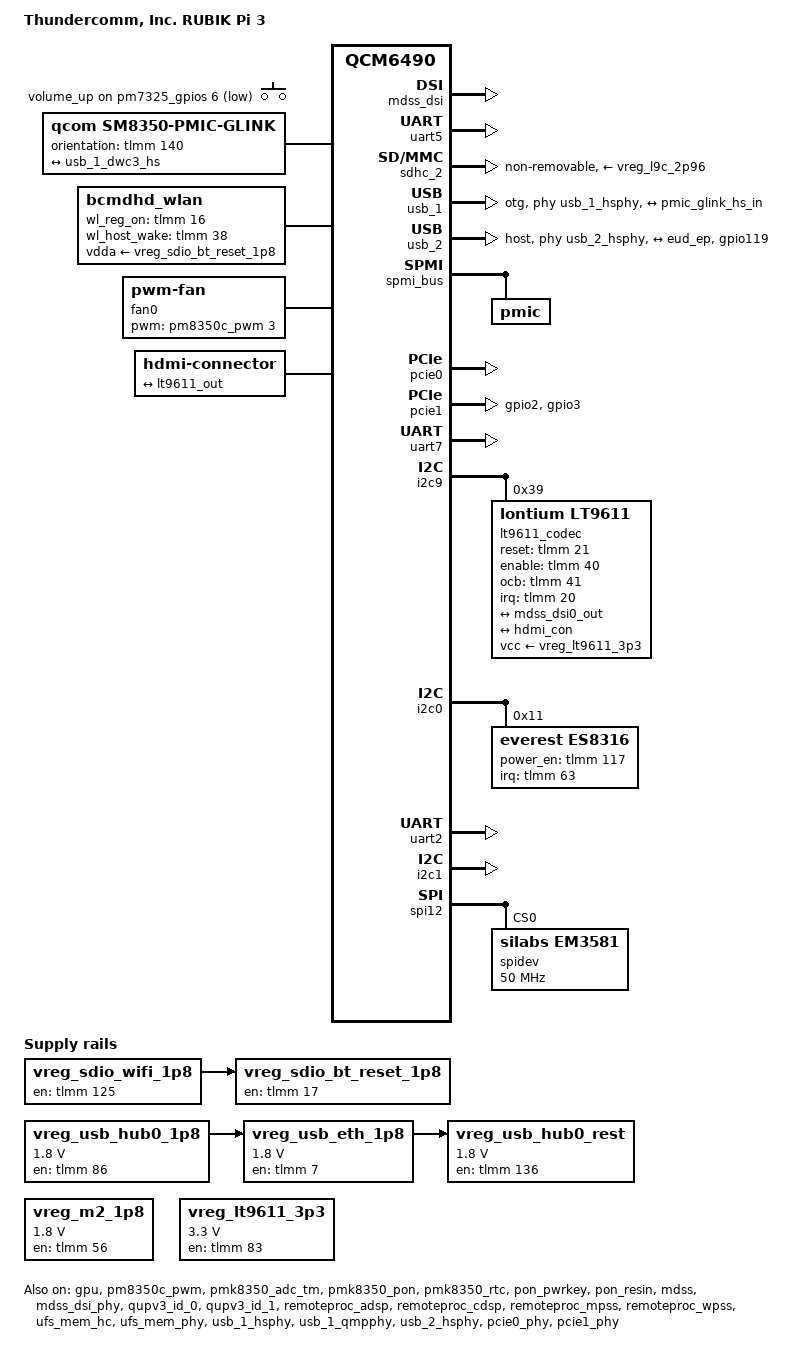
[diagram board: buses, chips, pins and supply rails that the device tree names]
// SPDX-License-Identifier: BSD-3-Clause
/*
 * Copyright (c) 2024, Thundercomm All rights reserved.
 */
#define PM7250B_SID 8
#define PM7250B_SID1 9

#include <dt-bindings/iio/qcom,spmi-adc7-pm7325.h>
#include <dt-bindings/iio/qcom,spmi-adc7-pmk8350.h>
#include <dt-bindings/input/linux-event-codes.h>
#include <dt-bindings/leds/common.h>
#include <dt-bindings/pinctrl/qcom,pmic-gpio.h>
#include <dt-bindings/regulator/qcom,rpmh-regulator.h>
#include "qcm6490.dtsi"
#include "pm7250b.dtsi"
#include "pm7325.dtsi"
#include "pm8350c.dtsi"
#include "pmk8350.dtsi"
#include "pm7325b.dtsi"

/ {
	model = "Thundercomm, Inc. RUBIK Pi 3";
	compatible = "qcom,qcm6490-rb3gen2", "qcom,qcm6490";

	qcom,msm-id = <497 0x10000>, <498 0x10000>, <475 0x10000>, <515 0x10000>;
	qcom,board-id =<32 0xb>, <32 0x60b>;

	aliases {
		serial0 = &uart5;
		serial2 = &uart2;
		serial3 = &uart3;
		serial6 = &uart6;
		serial7 = &uart7;
		serial8 = &uart8;
		serial12 = &uart12;
	};

	chosen {
		stdout-path = "serial0:115200n8";
	};

	gpio-keys {
		compatible = "gpio-keys";
		label = "gpio-keys";

		pinctrl-0 = <&key_vol_up_default>;
		pinctrl-names = "default";

		key-volume-up {
			label = "volume_up";
			gpios = <&pm7325_gpios 6 GPIO_ACTIVE_LOW>;
			linux,input-type = <1>;
			linux,code = <KEY_VOLUMEUP>;
			wakeup-source;
			debounce-interval = <15>;
			linux,can-disable;
		};
	};

	pmic-glink {
		compatible = "qcom,sm8350-pmic-glink", "qcom,pmic-glink";
		#address-cells = <1>;
		#size-cells = <0>;
		orientation-gpios = <&tlmm 140 GPIO_ACTIVE_HIGH>;
		qcom,thermal-mitigation = <3000000 1500000 1000000 500000>;

		connector@0 {
			compatible = "usb-c-connector";
			reg = <0>;
			power-role = "dual";
			data-role = "dual";

			ports {
				#address-cells = <1>;
				#size-cells = <0>;

				port@0 {
					reg = <0>;

					pmic_glink_hs_in: endpoint {
						remote-endpoint = <&usb_1_dwc3_hs>;
					};
				};
			};
		};
	};

	thermal-zones {
		quiet-thermal {
			polling-delay-passive = <0>;
			polling-delay = <0>;
			thermal-sensors = <&pmk8350_adc_tm 1>;

			trips {
				active-config0 {
					temperature = <125000>;
					hysteresis = <1000>;
					type = "passive";
				};
			};
		};

		sdm-skin-thermal {
			polling-delay-passive = <0>;
			polling-delay = <0>;
			thermal-sensors = <&pmk8350_adc_tm 3>;

			trips {
				active-config0 {
					temperature = <125000>;
					hysteresis = <1000>;
					type = "passive";
				};
			};
		};

		xo-thermal {
			polling-delay-passive = <0>;
			polling-delay = <0>;
			thermal-sensors = <&pmk8350_adc_tm 0>;

			trips {
				active-config0 {
					temperature = <125000>;
					hysteresis = <1000>;
					type = "passive";
				};
			};
		};
	};
};

&apps_rsc {
	regulators-0 {
		compatible = "qcom,pm7325-rpmh-regulators";
		qcom,pmic-id = "b";

		vreg_s1b_1p872: smps1 {
			regulator-min-microvolt = <1840000>;
			regulator-max-microvolt = <2040000>;
		};

		vreg_s2b_0p876: smps2 {
			regulator-min-microvolt = <570070>;
			regulator-max-microvolt = <1050000>;
		};

		vreg_s7b_0p972: smps7 {
			regulator-min-microvolt = <535000>;
			regulator-max-microvolt = <1120000>;
		};

		vreg_s8b_1p272: smps8 {
			regulator-min-microvolt = <1200000>;
			regulator-max-microvolt = <1500000>;
		};

		vreg_l1b_0p912: ldo1 {
			regulator-min-microvolt = <912000>;
			regulator-max-microvolt = <925000>;
			regulator-initial-mode = <RPMH_REGULATOR_MODE_HPM>;
		};

		vreg_l2b_3p072: ldo2 {
			regulator-min-microvolt = <2700000>;
			regulator-max-microvolt = <3544000>;
			regulator-initial-mode = <RPMH_REGULATOR_MODE_HPM>;
		};

		vreg_l3b_0p504: ldo3 {
			regulator-min-microvolt = <312000>;
			regulator-max-microvolt = <910000>;
			regulator-initial-mode = <RPMH_REGULATOR_MODE_HPM>;
		};

		vreg_l4b_0p752: ldo4 {
			regulator-min-microvolt = <752000>;
			regulator-max-microvolt = <820000>;
			regulator-initial-mode = <RPMH_REGULATOR_MODE_HPM>;
		};

		vreg_l5b_0p752: ldo5 {
			regulator-min-microvolt = <552000>;
			regulator-max-microvolt = <832000>;
			regulator-initial-mode = <RPMH_REGULATOR_MODE_HPM>;
		};

		vreg_l6b_1p2: ldo6 {
			regulator-min-microvolt = <1140000>;
			regulator-max-microvolt = <1260000>;
			regulator-initial-mode = <RPMH_REGULATOR_MODE_HPM>;
		};

		vreg_l7b_2p952: ldo7 {
			regulator-min-microvolt = <2400000>;
			regulator-max-microvolt = <3544000>;
			regulator-initial-mode = <RPMH_REGULATOR_MODE_HPM>;
		};

		vreg_l8b_0p904: ldo8 {
			regulator-min-microvolt = <870000>;
			regulator-max-microvolt = <970000>;
			regulator-initial-mode = <RPMH_REGULATOR_MODE_HPM>;
		};

		vreg_l9b_1p2: ldo9 {
			regulator-min-microvolt = <1200000>;
			regulator-max-microvolt = <1304000>;
			regulator-initial-mode = <RPMH_REGULATOR_MODE_HPM>;
		};

		vreg_l11b_1p504: ldo11 {
			regulator-min-microvolt = <1504000>;
			regulator-max-microvolt = <2000000>;
			regulator-initial-mode = <RPMH_REGULATOR_MODE_HPM>;
		};

		vreg_l12b_0p751: ldo12 {
			regulator-min-microvolt = <751000>;
			regulator-max-microvolt = <824000>;
			regulator-initial-mode = <RPMH_REGULATOR_MODE_HPM>;
		};

		vreg_l13b_0p53: ldo13 {
			regulator-min-microvolt = <530000>;
			regulator-max-microvolt = <824000>;
			regulator-initial-mode = <RPMH_REGULATOR_MODE_HPM>;
		};

		vreg_l14b_1p08: ldo14 {
			regulator-min-microvolt = <1080000>;
			regulator-max-microvolt = <1304000>;
			regulator-initial-mode = <RPMH_REGULATOR_MODE_HPM>;
		};

		vreg_l15b_0p765: ldo15 {
			regulator-min-microvolt = <765000>;
			regulator-max-microvolt = <1020000>;
			regulator-initial-mode = <RPMH_REGULATOR_MODE_HPM>;
		};

		vreg_l16b_1p1: ldo16 {
			regulator-min-microvolt = <1100000>;
			regulator-max-microvolt = <1300000>;
			regulator-initial-mode = <RPMH_REGULATOR_MODE_HPM>;
		};

		vreg_l17b_1p7: ldo17 {
			regulator-min-microvolt = <1700000>;
			regulator-max-microvolt = <1900000>;
			regulator-initial-mode = <RPMH_REGULATOR_MODE_HPM>;
		};

		vreg_l18b_1p8: ldo18 {
			regulator-min-microvolt = <1800000>;
			regulator-max-microvolt = <2000000>;
			regulator-initial-mode = <RPMH_REGULATOR_MODE_HPM>;
		};

		vreg_l19b_1p8: ldo19 {
			regulator-min-microvolt = <1800000>;
			regulator-max-microvolt = <2000000>;
			regulator-initial-mode = <RPMH_REGULATOR_MODE_HPM>;
		};
	};

	regulators-1 {
		compatible = "qcom,pm8350c-rpmh-regulators";
		qcom,pmic-id = "c";

		vreg_s1c_2p19: smps1 {
			regulator-min-microvolt = <2190000>;
			regulator-max-microvolt = <2210000>;
		};

		vreg_s2c_0p752: smps2 {
			regulator-min-microvolt = <750000>;
			regulator-max-microvolt = <800000>;
		};

		vreg_s5c_0p752: smps5 {
			regulator-min-microvolt = <465000>;
			regulator-max-microvolt = <1050000>;
		};

		vreg_s7c_0p752: smps7 {
			regulator-min-microvolt = <465000>;
			regulator-max-microvolt = <800000>;
		};

		vreg_s9c_1p084: smps9 {
			regulator-min-microvolt = <1010000>;
			regulator-max-microvolt = <1170000>;
		};

		vreg_s10c_0p752:smps10 {
			regulator-min-microvolt = <752000>;
			regulator-max-microvolt = <800000>;
		};

		vreg_l1c_1p8: ldo1 {
			regulator-min-microvolt = <1800000>;
			regulator-max-microvolt = <1980000>;
			regulator-initial-mode = <RPMH_REGULATOR_MODE_HPM>;
		};

		vreg_l2c_1p62: ldo2 {
			regulator-min-microvolt = <1620000>;
			regulator-max-microvolt = <1980000>;
			regulator-initial-mode = <RPMH_REGULATOR_MODE_HPM>;
		};

		vreg_l3c_2p8: ldo3 {
			regulator-min-microvolt = <2800000>;
			regulator-max-microvolt = <3540000>;
			regulator-initial-mode = <RPMH_REGULATOR_MODE_HPM>;
		};

		vreg_l4c_1p62: ldo4 {
			regulator-min-microvolt = <1620000>;
			regulator-max-microvolt = <3300000>;
			regulator-initial-mode = <RPMH_REGULATOR_MODE_HPM>;
		};

		vreg_l5c_1p62: ldo5 {
			regulator-min-microvolt = <1620000>;
			regulator-max-microvolt = <3300000>;
			regulator-initial-mode = <RPMH_REGULATOR_MODE_HPM>;
		};

		vreg_l6c_2p96: ldo6 {
			regulator-min-microvolt = <1800000>;
			regulator-max-microvolt = <1800000>;
			regulator-initial-mode = <RPMH_REGULATOR_MODE_HPM>;
		};

		vreg_l7c_3p0: ldo7 {
			regulator-min-microvolt = <3000000>;
			regulator-max-microvolt = <3544000>;
			regulator-initial-mode = <RPMH_REGULATOR_MODE_HPM>;
		};

		vreg_l8c_1p62: ldo8 {
			regulator-min-microvolt = <1620000>;
			regulator-max-microvolt = <2000000>;
			regulator-initial-mode = <RPMH_REGULATOR_MODE_HPM>;
		};

		vreg_l9c_2p96: ldo9 {
			regulator-min-microvolt = <2700000>;
			regulator-max-microvolt = <3544000>;
			regulator-initial-mode = <RPMH_REGULATOR_MODE_HPM>;
		};

		vreg_l10c_0p88: ldo10 {
			regulator-min-microvolt = <880000>;
			regulator-max-microvolt = <1050000>;
			regulator-initial-mode = <RPMH_REGULATOR_MODE_HPM>;
		};

		vreg_l11c_2p8: ldo11 {
			regulator-min-microvolt = <2800000>;
			regulator-max-microvolt = <3544000>;
			regulator-initial-mode = <RPMH_REGULATOR_MODE_HPM>;
		};

		vreg_l12c_1p65: ldo12 {
			regulator-min-microvolt = <1650000>;
			regulator-max-microvolt = <2000000>;
			regulator-initial-mode = <RPMH_REGULATOR_MODE_HPM>;
		};

		vreg_l13c_2p7: ldo13 {
			regulator-min-microvolt = <2700000>;
			regulator-max-microvolt = <3544000>;
			regulator-initial-mode = <RPMH_REGULATOR_MODE_HPM>;
		};

		vreg_bob_3p296: bob {
			regulator-min-microvolt = <3008000>;
			regulator-max-microvolt = <3960000>;
		};
	};
};

&gcc {
	protected-clocks = <GCC_QSPI_CNOC_PERIPH_AHB_CLK>, <GCC_QSPI_CORE_CLK>,
			<GCC_QSPI_CORE_CLK_SRC>, <GCC_CFG_NOC_LPASS_CLK>,
			<GCC_MSS_GPLL0_MAIN_DIV_CLK_SRC>, <GCC_MSS_CFG_AHB_CLK>,
			<GCC_MSS_OFFLINE_AXI_CLK>, <GCC_MSS_SNOC_AXI_CLK>,
			<GCC_MSS_Q6_MEMNOC_AXI_CLK>, <GCC_MSS_Q6SS_BOOT_CLK_SRC>,
			<GCC_SEC_CTRL_CLK_SRC>, <GCC_WPSS_AHB_CLK>,
			<GCC_WPSS_AHB_BDG_MST_CLK>, <GCC_WPSS_RSCP_CLK>;
};

&gpu {
	status = "okay";
};

&gpu_zap_shader {
	firmware-name = "qcom/qcs6490/a660_zap.mbn";
};

&ipa {
	status = "disabled";
};

&lpasscc {
	status = "disabled";
};

&pm7325_gpios {
	key_vol_up_default: key-vol-up-state {
		pins = "gpio6";
		function = "normal";
		input-enable;
		bias-pull-up;
		power-source = <0>;
		qcom,drive-strength = <3>;
	};
};

&pm7325_temp_alarm {
	io-channels = <&pmk8350_vadc PM7325_ADC7_DIE_TEMP>;
	io-channel-names = "thermal";
};

&pm8350c_pwm {
	#address-cells = <1>;
	#size-cells = <0>;
	status = "okay";

	led@1 {
		reg = <1>;
		color = <LED_COLOR_ID_RED>;
		label = "red";
	};

	led@2 {
		reg = <2>;
		color = <LED_COLOR_ID_GREEN>;
		label = "green";
	};

	led@3 {
		reg = <3>;
		color = <LED_COLOR_ID_BLUE>;
		label = "blue";
	};
};

&pmk8350_adc_tm {
	status = "okay";

	xo-therm@0 {
		reg = <0>;
		io-channels = <&pmk8350_vadc PMK8350_ADC7_AMUX_THM1_100K_PU>;
		qcom,ratiometric;
		qcom,hw-settle-time-us = <200>;
	};

	quiet-therm@1 {
		reg = <1>;
		io-channels = <&pmk8350_vadc PM7325_ADC7_AMUX_THM1_100K_PU>;
		qcom,ratiometric;
		qcom,hw-settle-time-us = <200>;
	};

	sdm-skin-therm@3 {
		reg = <3>;
		io-channels = <&pmk8350_vadc PM7325_ADC7_AMUX_THM3_100K_PU>;
		qcom,ratiometric;
		qcom,hw-settle-time-us = <200>;
	};
};

&pmk8350_pon {
	status = "okay";
};

&pmk8350_rtc {
	status = "okay";
	allow-set-time;
};

&pmk8350_vadc {
	channel@44 {
		reg = <PMK8350_ADC7_AMUX_THM1_100K_PU>;
		label = "xo_therm";
		qcom,hw-settle-time = <200>;
		qcom,pre-scaling = <1 1>;
		qcom,ratiometric;
	};

	channel@103 {
		reg = <PM7325_ADC7_DIE_TEMP>;
		label = "pm7325_die_temp";
		qcom,pre-scaling = <1 1>;
	};

	channel@144 {
		reg = <PM7325_ADC7_AMUX_THM1_100K_PU>;
		qcom,ratiometric;
		qcom,hw-settle-time = <200>;
		qcom,pre-scaling = <1 1>;
		label = "pm7325_quiet_therm";
	};

	channel@146 {
		reg = <PM7325_ADC7_AMUX_THM3_100K_PU>;
		qcom,ratiometric;
		qcom,hw-settle-time = <200>;
		qcom,pre-scaling = <1 1>;
		label = "pm7325_sdm_skin_therm";
	};

	pmk8350-die-temp@3 {
		reg = <PMK8350_ADC7_DIE_TEMP>;
		label = "pmk8350_die_temp";
		qcom,pre-scaling = <1 1>;
	};
};

&pon_pwrkey {
	status = "okay";
};

&pon_resin {
	linux,code = <KEY_VOLUMEDOWN>;
	status = "okay";
};

&mdss {
	status = "okay";
};

&mdss_dsi {
	vdda-supply = <&vreg_l6b_1p2>;
	status = "okay";
};

&mdss_dsi_phy {
	vdds-supply = <&vreg_l10c_0p88>;
	status = "okay";
};

&qup_uart5_rx {
	drive-strength = <2>;
	bias-pull-up;
};

&qup_uart5_tx {
	drive-strength = <2>;
	bias-disable;
};

&gpi_dma0 {
	status = "okay";
};

&gpi_dma1 {
	status = "okay";
};

&qupv3_id_0 {
	status = "okay";
};

&qupv3_id_1 {
	status = "okay";
};

&remoteproc_adsp {
	firmware-name = "qcom/qcs6490/adsp.mdt";
	status = "okay";
};

&remoteproc_cdsp {
	firmware-name = "qcom/qcs6490/cdsp.mdt";
	status = "okay";
};

&remoteproc_mpss {
	firmware-name = "qcom/qcs6490/modem.mdt";
	status = "okay";
};

&remoteproc_wpss {
	firmware-name = "qcom/qcs6490/wpss.mdt";
	status = "okay";
};

&uart5 {
	compatible = "qcom,geni-debug-uart";
	status = "okay";
};

&ufs_mem_hc {
	reset-gpios = <&tlmm 175 GPIO_ACTIVE_LOW>;
	vcc-supply = <&vreg_l7b_2p952>;
	vcc-max-microamp = <800000>;
	vccq-supply = <&vreg_l9b_1p2>;
	vccq-max-microamp = <900000>;
	vccq2-supply = <&vreg_l9b_1p2>;
	vccq2-max-microamp = <900000>;

	status = "okay";
};

&ufs_mem_phy {
	vdda-phy-supply = <&vreg_l10c_0p88>;
	vdda-pll-supply = <&vreg_l6b_1p2>;

	status = "okay";
};

&tlmm {
	wifi_reset_active: wifi_reset_active {
		pins = "gpio16";
		function = "gpio";
		drive-strength = <2>;
		output-high;
		bias-disable;
	};
};

/ {
	vreg_sdio_wifi_1p8: vreg_sdio_wifi_1p8 {
		compatible = "regulator-fixed";
		regulator-name = "vreg_sdio_wifi_1p8";
		enable-active-high;
		gpio = <&tlmm 125 GPIO_ACTIVE_HIGH>;
		regulator-always-on;
		regulator-enable-ramp-delay = <50000>;
	};

	vreg_sdio_bt_reset_1p8: vreg_sdio_bt_reset_1p8 {
		pinctrl-0 = <&wifi_reset_active>;
		pinctrl-names = "default";
		compatible = "regulator-fixed";
		regulator-name = "vreg_sdio_bt_reset_1p8";
		regulator-always-on;
		enable-active-high;
		gpio = <&tlmm 17 GPIO_ACTIVE_HIGH>;
		vin-supply = <&vreg_sdio_wifi_1p8>;
	};

	bcmdhd_wlan: bcmdhd_wlan {
		status = "okay";
		compatible = "linux,bcmdhd_wlan";
		gpio_wl_reg_on = <&tlmm 16 GPIO_ACTIVE_HIGH>;
		gpio_wl_host_wake = <&tlmm 38 GPIO_ACTIVE_HIGH>;
		vdda-supply = <&vreg_sdio_bt_reset_1p8>;
	};
};

&sdhc_2 {
	status = "okay";

	pinctrl-0 = <&sdc2_clk>, <&sdc2_cmd>, <&sdc2_data>;
	pinctrl-1 = <&sdc2_clk_sleep>, <&sdc2_cmd_sleep>, <&sdc2_data_sleep>;

	vmmc-supply = <&vreg_l9c_2p96>;
	vqmmc-supply = <&vreg_l6c_2p96>;

	non-removable;
	keep-power-in-suspend;

	/delete-property/ cd-gpios;
};

/delete-node/ &usb_1_dwc3;

&usb_1 {

	reg = <0x0 0x0a600000 0x0 0x200000>;

	interrupts-extended = <&intc GIC_SPI 133 IRQ_TYPE_LEVEL_HIGH>,
			      <&intc GIC_SPI 131 IRQ_TYPE_LEVEL_HIGH>,
			      <&pdc 14 IRQ_TYPE_LEVEL_HIGH>,
			      <&pdc 15 IRQ_TYPE_EDGE_BOTH>,
			      <&pdc 17 IRQ_TYPE_EDGE_BOTH>;
	interrupt-names = "dwc_usb3",
			  "hs_phy_irq",
			  "dp_hs_phy_irq",
			  "dm_hs_phy_irq",
			  "ss_phy_irq";

	iommus = <&apps_smmu 0xe0 0x0>;
	snps,dis_u2_susphy_quirk;
	snps,dis_enblslpm_quirk;
	phys = <&usb_1_hsphy>, <&usb_1_qmpphy QMP_USB43DP_USB3_PHY>;
	phy-names = "usb2-phy", "usb3-phy";
	maximum-speed = "super-speed";
	snps,dis-u2-entry-quirk;
	snps,dis-u1-entry-quirk;
	dr_mode = "otg";
	usb-role-switch;
	qcom,enable-rt;
	wakeup-source;

	status = "okay";

	ports {
		#address-cells = <1>;
		#size-cells = <0>;

		port@0 {
			reg = <0>;
			usb_1_dwc3_hs: endpoint {
			};
		};
	};
};

&usb_1_dwc3_hs {
	remote-endpoint = <&pmic_glink_hs_in>;
};

&usb_1_hsphy {
	vdda-pll-supply = <&vreg_l10c_0p88>;
	vdda18-supply = <&vreg_l1c_1p8>;
	vdda33-supply = <&vreg_l2b_3p072>;

	status = "okay";
};

&usb_1_qmpphy {
	vdda-phy-supply = <&vreg_l6b_1p2>;
	vdda-pll-supply = <&vreg_l1b_0p912>;

	orientation-switch;
	status = "okay";
};

&vreg_l7b_2p952 {
	/delete-property/regulator-min-microvolt;
	/delete-property/regulator-max-microvolt;
	regulator-allow-set-load;
	regulator-allowed-modes = <RPMH_REGULATOR_MODE_LPM RPMH_REGULATOR_MODE_HPM>;
};

&vreg_l9b_1p2 {
	/delete-property/regulator-min-microvolt;
	/delete-property/regulator-max-microvolt;
	regulator-allow-set-load;
	regulator-allowed-modes = <RPMH_REGULATOR_MODE_LPM RPMH_REGULATOR_MODE_HPM>;
};

/*     USB2 Related Start        */
/*==============================*/

&pm7325_gpios {
	usb2_vbus_det_default: usb2_vbus_det_state {
		pins = "gpio9";
		function = "normal";
		bias-pull-down;
		input-enable;
		power-source = <0>;
	};
};

&sdc2_clk {
	bias-disable;
	drive-strength = <16>;
};

&sdc2_cmd {
	bias-pull-up;
	drive-strength = <10>;
};

&sdc2_data {
	bias-pull-up;
	drive-strength = <10>;
};

&tlmm {
	usb2_1p8_vreg_default: usb2_1p8_vreg_default {
		pins = "gpio119";
		function = "gpio";
		drive-strength = <2>;
		bias-disable;
		output-high;
	};
};

/delete-node/ &usb_2_dwc3;

&usb_2 {
	pinctrl-0 = <&usb2_1p8_vreg_default>;
	pinctrl-names = "default";

	reg = <0x0 0x08c00000 0x0 0x100000>;

	interrupts-extended = <&intc GIC_SPI 242 IRQ_TYPE_LEVEL_HIGH>,
				<&intc GIC_SPI 240 IRQ_TYPE_LEVEL_HIGH>,
				<&pdc 12 IRQ_TYPE_LEVEL_HIGH>,
				<&pdc 13 IRQ_TYPE_EDGE_BOTH>;
	interrupt-names = "dwc_usb2",
			"hs_phy_irq",
			"dp_hs_phy_irq",
			"dm_hs_phy_irq";

	iommus = <&apps_smmu 0xa0 0x0>;
	snps,dis_u2_susphy_quirk;
	snps,dis_enblslpm_quirk;
	phys = <&usb_2_hsphy>;
	phy-names = "usb2-phy";
	maximum-speed = "high-speed";
	snps,dis-u2-entry-quirk;
	snps,dis-u1-entry-quirk;

	usb-role-switch;
	qcom,enable-rt;
	wakeup-source;
	dr_mode = "host";

	status = "okay";

	ports {
		#address-cells = <1>;
		#size-cells = <0>;

		port@0 {
			usb2_role_switch: endpoint {
				remote-endpoint = <&eud_ep>;
			};
		};
	};
};

&usb_2_hsphy {
	vdda-pll-supply = <&vreg_l10c_0p88>;
	vdda18-supply = <&vreg_l1c_1p8>;
	vdda33-supply = <&vreg_l2b_3p072>;

	status = "okay";
};

&spmi_bus {
	pmic@PM7250B_SID {
		pm7250b_bcl: bcl@1d00 {
			compatible = "qcom,bcl-v5";
			reg = <0x1d00>;
			interrupts = <PM7250B_SID 0x1d 0x0 IRQ_TYPE_EDGE_RISING>,
					<PM7250B_SID 0x1d 0x1 IRQ_TYPE_EDGE_RISING>,
					<PM7250B_SID 0x1d 0x2 IRQ_TYPE_EDGE_RISING>;
			interrupt-names = "bcl-lvl0",
						"bcl-lvl1",
						"bcl-lvl2";
			#thermal-sensor-cells = <1>;
		};
	};
};

&thermal_zones {
	pm7250b-ibat-lvl0 {
		polling-delay-passive = <0>;
		polling-delay = <0>;
		thermal-sensors = <&pm7250b_bcl 0>;

		trips {
			ibat_lvl0:ibat-lvl0 {
				temperature = <6000>;
				hysteresis = <200>;
				type = "passive";
			};
		};
	};

	pm7250b-ibat-lvl1 {
		polling-delay-passive = <0>;
		polling-delay = <0>;
		thermal-sensors = <&pm7250b_bcl 1>;

		trips {
			ibat_lvl1:ibat-lvl1 {
				temperature = <7500>;
				hysteresis = <200>;
				type = "passive";
			};
		};
	};

	pm7250b-bcl-lvl0 {
		polling-delay-passive = <100>;
		polling-delay = <0>;
		thermal-sensors = <&pm7250b_bcl 5>;

		trips {
			b_bcl_lvl0: b-bcl-lvl0 {
				temperature = <1>;
				hysteresis = <1>;
				type = "passive";
			};
		};

		cooling-maps {
			map0 {
				trip = <&b_bcl_lvl0>;
				cooling-device = <&CPU4_idle 100 100>;
			};

			map1 {
				trip = <&b_bcl_lvl0>;
				cooling-device = <&CPU5_idle 100 100>;
			};

			map2 {
				trip = <&b_bcl_lvl0>;
				cooling-device = <&CPU6_idle 100 100>;
			};

			map3 {
				trip = <&b_bcl_lvl0>;
				cooling-device = <&CPU7_idle 100 100>;
			};

			map4 {
				trip = <&b_bcl_lvl0>;
				cooling-device = <&cdsp_sw 2 2>;
			};

			map5 {
				trip = <&b_bcl_lvl0>;
				cooling-device = <&modem_pa 2 2>;
			};

			map6 {
				trip = <&b_bcl_lvl0>;
				cooling-device = <&modem_tj 1 1>;
			};
		};
	};

	pm7250b-bcl-lvl1 {
		polling-delay-passive = <100>;
		polling-delay = <0>;
		thermal-sensors = <&pm7250b_bcl 6>;

		trips {
			b_bcl_lvl1: b-bcl-lvl1 {
				temperature = <1>;
				hysteresis = <1>;
				type = "passive";
			};
		};

		cooling-maps {
			map0 {
				trip = <&b_bcl_lvl1>;
				cooling-device = <&msm_gpu 5 THERMAL_NO_LIMIT>;
			};

			map1 {
				trip = <&b_bcl_lvl1>;
				cooling-device = <&cdsp_sw 4 4>;
			};

			map2 {
				trip = <&b_bcl_lvl1>;
				cooling-device = <&modem_tj 3 3>;
			};
		};
	};

	pm7250b-bcl-lvl2 {
		polling-delay-passive = <100>;
		polling-delay = <0>;
		thermal-sensors = <&pm7250b_bcl 7>;

		trips {
			b_bcl_lvl2: b-bcl-lvl2 {
				temperature = <1>;
				hysteresis = <1>;
				type = "passive";
			};
		};

		cooling-maps {
			map0 {
				trip = <&b_bcl_lvl2>;
				cooling-device = <&cdsp_sw 5 5>;
			};
		};
	};
};

/ {
	vreg_usb_hub0_1p8: vreg_usb_hub0_1p8 {
		compatible = "regulator-fixed";
		regulator-name = "vreg_usb_hub0_1p8";
		gpio = <&tlmm 86 0>;
		regulator-min-microvolt = <1800000>;
		regulator-max-microvolt = <1800000>;
		enable-active-high;
		regulator-always-on;
		regulator-enable-ramp-delay = <50000>;
	};

	vreg_usb_eth_1p8: vreg_usb_eth_1p8 {
		compatible = "regulator-fixed";
		regulator-name = "vreg_usb_eth_1p8";
		gpio = <&tlmm 7 0>;
		vin-supply = <&vreg_usb_hub0_1p8>;
		regulator-min-microvolt = <1800000>;
		regulator-max-microvolt = <1800000>;
		enable-active-high;
		regulator-enable-ramp-delay = <50000>;
	};

	vreg_usb_hub0_rest: vreg_usb_hub0_rest {
		compatible = "regulator-fixed";
		regulator-name = "vreg_usb_hub0_rest";
		gpio = <&tlmm 136 0>;
		vin-supply = <&vreg_usb_eth_1p8>;
		regulator-min-microvolt = <1800000>;
		regulator-max-microvolt = <1800000>;
		enable-active-high;
		regulator-always-on;
		regulator-enable-ramp-delay = <50000>;
	};
};

&pcie0 {
	perst-gpios = <&tlmm 87 GPIO_ACTIVE_LOW>;
	pinctrl-0 = <&pcie0_reset_n>, <&pcie0_wake_n>, <&pcie0_clkreq_n>;
	pinctrl-names = "default";
	status = "okay";
	vdda-supply = <&vreg_usb_hub0_rest>;
};

&pcie0_phy {
	status = "okay";
	vdda-phy-supply = <&vreg_l10c_0p88>;
	vdda-pll-supply = <&vreg_l6b_1p2>;
};

&tlmm {
	pcie1_reset_n: pcie1-reset-n-state {
		pins = "gpio2";
		function = "gpio";
		drive-strength = <16>;
		output-low;
		bias-disable;
	};

	pcie1_wake_n: pcie1-wake-n-state {
		pins = "gpio3";
		function = "gpio";
		drive-strength = <2>;
		bias-pull-up;
	};
};

/ {
	vreg_m2_1p8: verg_m2_1p8 {
		compatible = "regulator-fixed";
		regulator-name = "vreg_m2_1p8";
		gpio = <&tlmm 56 0>;
		regulator-min-microvolt = <1800000>;
		regulator-max-microvolt = <1800000>;
		enable-active-high;
		regulator-enable-ramp-delay = <50000>;
	};
};

&pcie1 {
	perst-gpios = <&tlmm 2 GPIO_ACTIVE_LOW>;

	pinctrl-0 = <&pcie1_reset_n>, <&pcie1_wake_n>, <&pcie1_clkreq_n>;
	pinctrl-names = "default";

	vdda-supply = <&vreg_m2_1p8>;

	status = "okay";

	pcieport1: pcie@1 {
		device_type = "pci";
		reg = <0x0 0x0 0x0 0x0 0x0>;
		#address-cells = <5>;
		#size-cells = <0>;
		pcie1_bus1_dev0_fn0: pcie1_bus1_dev0_fn0 {
			reg = <0 0 0 0 0>;
		};
	};
};

&pcie1_phy {
	vdda-phy-supply = <&vreg_l10c_0p88>;
	vdda-pll-supply = <&vreg_l6b_1p2>;

	status = "okay";
};

/ {
	fan0: pwm-fan {
		compatible = "pwm-fan";
		pwms = <&pm8350c_pwm 3 1000000>;
		pinctrl-names = "default";
		pinctrl-0 = <&fan_pwm_out_default>;
	};
};

&pm8350c_gpios {
	fan_pwm_out_default: fan_pwm_out_default {
		pins = "gpio8";
		function = "func1";
		power-source = <1>;
		drive-push-pull;
		output-high;
		qcom,drive-strength = <3>;
	};
};

&tlmm {
	qup_uart7_sleep_cts: qup-uart7-sleep-cts-state {
		pins = "gpio28";
		function = "gpio";
		/*
		 * Configure a bias-bus-hold on CTS to lower power
		 * usage when Bluetooth is turned off. Bus hold will
		 * maintain a low power state regardless of whether
		 * the Bluetooth module drives the pin in either
		 * direction or leaves the pin fully unpowered.
		 */
		bias-bus-hold;
	};

	qup_uart7_sleep_rts: qup-uart7-sleep-rts-state {
		pins = "gpio29";
		function = "gpio";
		/*
		 * Configure pull-down on RTS. As RTS is active low
		 * signal, pull it low to indicate the BT SoC that it
		 * can wakeup the system anytime from suspend state by
		 * pulling RX low (by sending wakeup bytes).
		 */
		bias-pull-down;
	};

	qup_uart7_sleep_rx: qup-uart7-sleep-rx-state {
		pins = "gpio31";
		function = "gpio";
		/*
		 * Configure a pull-up on RX. This is needed to avoid
		 * garbage data when the TX pin of the Bluetooth module
		 * is floating which may cause spurious wakeups.
		 */
		bias-pull-up;
	};

	qup_uart7_sleep_tx: qup-uart7-sleep-tx-state {
		pins = "gpio30";
		function = "gpio";
		/*
		 * Configure pull-up on TX when it isn't actively driven
		 * to prevent BT SoC from receiving garbage during sleep.
		 */
		bias-pull-up;
	};
};

&uart7 {
	status = "okay";
	/delete-property/interrupts;
	interrupts-extended = <&intc GIC_SPI 608 IRQ_TYPE_LEVEL_HIGH>,
				<&tlmm 31 IRQ_TYPE_EDGE_FALLING>;
	pinctrl-names = "default", "sleep";
	pinctrl-1 = <&qup_uart7_sleep_cts>, <&qup_uart7_sleep_rts>,
			<&qup_uart7_sleep_tx>, <&qup_uart7_sleep_rx>;
};

/ {
	hdmi-connector {
		compatible = "hdmi-connector";
		type = "a";
		port {
			hdmi_con: endpoint {
				remote-endpoint = <&lt9611_out>;
			};
		};
	};
};

&soc {
	vreg_lt9611_3p3: lt9611-3p3-vreg {
		compatible = "regulator-fixed";
		regulator-name = "vreg_lt9611_3p3";
		gpio = <&tlmm 83 0>;
		regulator-min-microvolt = <3300000>;
		regulator-max-microvolt = <3300000>;
		enable-active-high;
		regulator-enable-ramp-delay = <10000>;
	};
};

&apps_rsc {
	regulators-0 {
		vreg_l6b_1p2: ldo6 {
			regulator-min-microvolt = <1140000>;
			regulator-max-microvolt = <1260000>;
			regulator-initial-mode = <RPMH_REGULATOR_MODE_HPM>;
		};
	};
	regulators-1 {
		vreg_l10c_0p88: ldo10 {
			regulator-min-microvolt = <880000>;
			regulator-max-microvolt = <1050000>;
			regulator-initial-mode = <RPMH_REGULATOR_MODE_HPM>;
		};
	};
};

&i2c9 {
	status = "okay";
	lt9611_codec: hdmi-bridge@39 {
		compatible = "lontium,lt9611";
		reg = <0x39>;
		interrupts-extended = <&tlmm 20 2>;
		reset-gpios = <&tlmm 21 0>;
		enable-gpios = <&tlmm 40 0>;
		ocb-gpios = <&tlmm 41 0>;
		vcc-supply = <&vreg_lt9611_3p3>;
		config-mode = "edidAdaptiveResolution";
		ports {
			#address-cells = <1>;
			#size-cells = <0>;
			port@0 {
				reg = <0>;
				lt9611_a: endpoint {
					remote-endpoint = <&mdss_dsi0_out>;
				};
			};
			port@2 {
				reg = <2>;
				lt9611_out: endpoint {
					remote-endpoint = <&hdmi_con>;
				};
			};
		};
	};
};

&mdss_dsi0_out {
	remote-endpoint = <&lt9611_a>;
	data-lanes = <0 1 2 3>;
};

&q6apmbedai {
	qcom,prmcc_clk = <&q6prmcc>;
};

&lpass_va_macro {
	status = "disabled";
};

&lpass_rx_macro {
	status = "disabled";
};

&lpass_tx_macro {
	status = "disabled";
};

&lpass_wsa_macro {
	status = "disabled";
};

&swr0 {
	status = "disabled";
};

&swr1 {
	status = "disabled";
};

&swr2 {
	status = "disabled";
};

&tlmm {
	mi2s0_data0_sleep: mi2s0-data0-sleep {
		pins = "gpio98";
		function = "gpio";
		drive-strength = <2>;
		bias-pull-down;
		input-enable;
	};

	mi2s0_data1_sleep: mi2s0-data1-sleep {
		pins = "gpio99";
		function = "gpio";
		drive-strength = <2>;
		bias-pull-down;
		input-enable;
	};

	mi2s0_sclk_sleep: mi2s0-sclk-sleep {
		pins = "gpio97";
		function = "gpio";
		drive-strength = <2>;
		bias-pull-down;
		input-enable;
	};

	mi2s0_ws_sleep: mi2s0-ws-sleep {
		pins = "gpio100";
		function = "gpio";
		drive-strength = <2>;
		bias-pull-down;
		input-enable;
	};
};

&mi2s0_data0 {
	drive-strength = <8>;
	bias-disable;
};

&mi2s0_data1 {
	drive-strength = <8>;
	bias-disable;
};

&mi2s0_sclk {
	drive-strength = <8>;
	bias-disable;
	output-high;
};

&mi2s0_ws {
	drive-strength = <8>;
	bias-disable;
	output-high;
};

&i2c0 {
	status = "ok";
	es8316: es8316@11 {
		compatible = "everest,es8316";
		reg = <0x11>;
		#sound-dai-cells = <0>;
		power_en-gpio = <&tlmm 117 0>;
		irq-gpio = <&tlmm 63 0>;
		status = "ok";
	};
};

&lpass_tlmm {
	lpass_ext_mas_clk1_a: ext-master-clk1-a-state {
		pins = "gpio13";
		function = "ext_mas_clk1_a";
	};

	lpass_ext_mas_clk1_a_sleep: ext-master-clk1-a-sleep {
		pins = "gpio13";
		function = "ext_mas_clk1_a";
		drive-strength = <2>;
		bias-pull-down;
		input-enable;
	};

	lpass_qua_mi2s_sclk: qua-mi2s-sclk-state {
		pins = "gpio0";
		function = "qua_mi2s_sclk";
	};

	lpass_qua_mi2s_sclk_sleep: qua-mi2s-sclk-sleep {
		pins = "gpio0";
		function = "qua_mi2s_sclk";
		drive-strength = <2>;
		bias-pull-down;
		input-enable;
	};

	lpass_qua_mi2s_ws: qua-mi2s-ws-state {
		pins = "gpio1";
		function = "qua_mi2s_ws";
	};

	lpass_qua_mi2s_ws_sleep: qua-mi2s-ws-sleep {
		pins = "gpio1";
		function = "qua_mi2s_ws";
		drive-strength = <2>;
		bias-pull-down;
		input-enable;
	};

	lpass_qua_mi2s_data0: qua-mi2s-data0-state {
		pins = "gpio2";
		function = "qua_mi2s_data";
	};

	lpass_qua_mi2s_data0_sleep: qua-mi2s-data0-sleep {
		pins = "gpio2";
		function = "qua_mi2s_data";
		drive-strength = <2>;
		bias-pull-down;
		input-enable;
	};

	lpass_qua_mi2s_data1: qua-mi2s-data1-state {
		pins = "gpio3";
		function = "qua_mi2s_data";
	};

	lpass_qua_mi2s_data1_sleep: qua-mi2s-data1-sleep {
		pins = "gpio3";
		function = "qua_mi2s_data";
		drive-strength = <2>;
		bias-pull-down;
		input-enable;
	};

	lpass_qua_mi2s_data2: qua-mi2s-data2-state {
		pins = "gpio4";
		function = "qua_mi2s_data";
	};

	lpass_qua_mi2s_data2_sleep: qua-mi2s-data2-sleep {
		pins = "gpio4";
		function = "qua_mi2s_data";
		drive-strength = <2>;
		bias-pull-down;
		input-enable;
	};

	lpass_qua_mi2s_data3: qua-mi2s-data3-state {
		pins = "gpio5";
		function = "qua_mi2s_data";
	};

	lpass_qua_mi2s_data3_sleep: qua-mi2s-data3-sleep {
		pins = "gpio5";
		function = "qua_mi2s_data";
		drive-strength = <2>;
		bias-pull-down;
		input-enable;
	};
};

/ {
	sound: sound {
		compatible = "qcom,qcm6490-sndcard";
		model = "qcm6490-idp-snd-card";

		#address-cells = <1>;
		#size-cells = <0>;

		pinctrl-names = "default", "stub_aif0_active", "stub_aif0_sleep";
		pinctrl-0 = <&mi2s0_data0_sleep>, <&mi2s0_data1_sleep>, <&mi2s0_mclk>,
					<&mi2s0_sclk_sleep>, <&mi2s0_ws_sleep>,
					<&lpass_ext_mas_clk1_a_sleep>, <&lpass_qua_mi2s_sclk_sleep>,
					<&lpass_qua_mi2s_ws_sleep>, <&lpass_qua_mi2s_data0_sleep>,
					<&lpass_qua_mi2s_data1_sleep>, <&lpass_qua_mi2s_data2_sleep>,
					<&lpass_qua_mi2s_data3_sleep>;
		pinctrl-1 = <&mi2s0_data0>, <&mi2s0_data1>, <&mi2s0_mclk>,
					<&mi2s0_sclk>, <&mi2s0_ws>,
					<&lpass_ext_mas_clk1_a>, <&lpass_qua_mi2s_sclk>,
					<&lpass_qua_mi2s_ws>, <&lpass_qua_mi2s_data0>,
					<&lpass_qua_mi2s_data1>, <&lpass_qua_mi2s_data2>,
					<&lpass_qua_mi2s_data3>;
		pinctrl-2 = <&mi2s0_data0_sleep>, <&mi2s0_data1_sleep>, <&mi2s0_mclk>,
					<&mi2s0_sclk_sleep>, <&mi2s0_ws_sleep>,
					<&lpass_ext_mas_clk1_a_sleep>, <&lpass_qua_mi2s_sclk_sleep>,
					<&lpass_qua_mi2s_ws_sleep>, <&lpass_qua_mi2s_data0_sleep>,
					<&lpass_qua_mi2s_data1_sleep>, <&lpass_qua_mi2s_data2_sleep>,
					<&lpass_qua_mi2s_data3_sleep>;

		mi2s-playback-dai-link {
			link-name = "MI2S-LPAIF-RX-PRIMARY";
			cpu {
				sound-dai = <&q6apmbedai PRIMARY_MI2S_RX>;
			};
			codec {
				sound-dai = <&msm_stub_codec 0>, <&es8316>;
			};
		};

		mi2s-capture-dai-link {
			link-name = "MI2S-LPAIF-TX-PRIMARY";
			cpu {
				sound-dai = <&q6apmbedai PRIMARY_MI2S_TX>;
			};
			codec {
				sound-dai = <&msm_stub_codec 1>, <&es8316>;
			};
		};

		quaternary-mi2s-playback-dai-link {
			link-name = "MI2S-LPAIF_RXTX-RX-PRIMARY";
			cpu {
				sound-dai = <&q6apmbedai QUATERNARY_MI2S_RX>;
			};
			codec {
				sound-dai = <&msm_stub_codec 0>;
			};
		};
	};
};

&uart2 {
	status = "okay";
};

&i2c1 {
	status = "okay";
};

&tlmm {
	/delete-property/ gpio-reserved-ranges;
};

&spi12 {
	status = "okay";
	spidev@0 {
		compatible = "silabs,em3581";
		spi-max-frequency = <50000000>;
		reg = <0>;
	};
};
